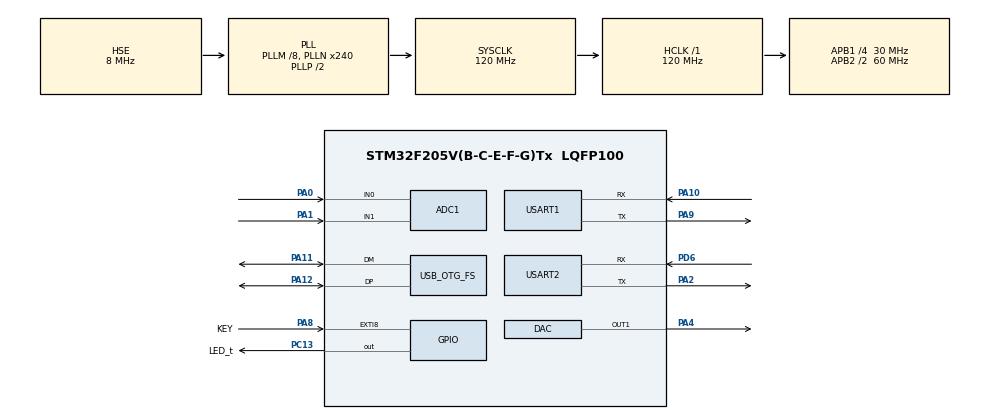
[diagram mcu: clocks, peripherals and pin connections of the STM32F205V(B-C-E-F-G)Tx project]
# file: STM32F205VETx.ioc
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ADC1.Channel-0\#ChannelRegularConversion=ADC_CHANNEL_0
ADC1.Channel-1\#ChannelRegularConversion=ADC_CHANNEL_1
ADC1.Channel-2\#ChannelRegularConversion=ADC_CHANNEL_TEMPSENSOR
ADC1.Channel-3\#ChannelRegularConversion=ADC_CHANNEL_VREFINT
ADC1.ClockPrescaler=ADC_CLOCK_SYNC_PCLK_DIV4
ADC1.ContinuousConvMode=ENABLE
ADC1.DMAContinuousRequests=ENABLE
ADC1.DiscontinuousConvMode=DISABLE
ADC1.InjNumberOfConversion=0
ADC1.NbrOfConversion=4
ADC1.NbrOfConversionFlag=1
ADC1.Rank-0\#ChannelRegularConversion=1
ADC1.Rank-1\#ChannelRegularConversion=2
ADC1.Rank-2\#ChannelRegularConversion=3
ADC1.Rank-3\#ChannelRegularConversion=4
ADC1.SamplingTime-0\#ChannelRegularConversion=ADC_SAMPLETIME_56CYCLES
ADC1.SamplingTime-1\#ChannelRegularConversion=ADC_SAMPLETIME_56CYCLES
ADC1.SamplingTime-2\#ChannelRegularConversion=ADC_SAMPLETIME_56CYCLES
ADC1.SamplingTime-3\#ChannelRegularConversion=ADC_SAMPLETIME_56CYCLES
ADC1.ScanConvMode=ENABLE
ADC1.master=1
DAC.DAC_OutputBuffer=DAC_OUTPUTBUFFER_DISABLE
DAC.DAC_Trigger=DAC_TRIGGER_SOFTWARE
Dma.ADC1.1.Direction=DMA_PERIPH_TO_MEMORY
Dma.ADC1.1.FIFOMode=DMA_FIFOMODE_DISABLE
Dma.ADC1.1.Instance=DMA2_Stream0
Dma.ADC1.1.MemDataAlignment=DMA_MDATAALIGN_WORD
Dma.ADC1.1.MemInc=DMA_MINC_ENABLE
Dma.ADC1.1.Mode=DMA_CIRCULAR
Dma.ADC1.1.PeriphDataAlignment=DMA_PDATAALIGN_WORD
Dma.ADC1.1.PeriphInc=DMA_PINC_DISABLE
Dma.ADC1.1.Priority=DMA_PRIORITY_LOW
Dma.Request0=USART1_RX
Dma.Request1=ADC1
Dma.Request2=USART1_TX
Dma.Request3=USART2_RX
Dma.Request4=USART2_TX
Dma.USART1_RX.0.Direction=DMA_PERIPH_TO_MEMORY
Dma.USART1_RX.0.FIFOMode=DMA_FIFOMODE_DISABLE
Dma.USART1_RX.0.Instance=DMA2_Stream2
Dma.USART1_RX.0.MemDataAlignment=DMA_MDATAALIGN_BYTE
Dma.USART1_RX.0.MemInc=DMA_MINC_ENABLE
Dma.USART1_RX.0.Mode=DMA_NORMAL
Dma.USART1_RX.0.PeriphDataAlignment=DMA_PDATAALIGN_BYTE
Dma.USART1_RX.0.PeriphInc=DMA_PINC_DISABLE
Dma.USART1_RX.0.Priority=DMA_PRIORITY_LOW
Dma.USART1_TX.2.Direction=DMA_MEMORY_TO_PERIPH
Dma.USART1_TX.2.FIFOMode=DMA_FIFOMODE_DISABLE
Dma.USART1_TX.2.Instance=DMA2_Stream7
Dma.USART1_TX.2.MemDataAlignment=DMA_MDATAALIGN_BYTE
Dma.USART1_TX.2.MemInc=DMA_MINC_ENABLE
Dma.USART1_TX.2.Mode=DMA_NORMAL
Dma.USART1_TX.2.PeriphDataAlignment=DMA_PDATAALIGN_BYTE
Dma.USART1_TX.2.PeriphInc=DMA_PINC_DISABLE
Dma.USART1_TX.2.Priority=DMA_PRIORITY_LOW
Dma.USART2_RX.3.Direction=DMA_PERIPH_TO_MEMORY
Dma.USART2_RX.3.FIFOMode=DMA_FIFOMODE_DISABLE
Dma.USART2_RX.3.Instance=DMA1_Stream5
Dma.USART2_RX.3.MemDataAlignment=DMA_MDATAALIGN_BYTE
Dma.USART2_RX.3.MemInc=DMA_MINC_ENABLE
Dma.USART2_RX.3.Mode=DMA_NORMAL
Dma.USART2_RX.3.PeriphDataAlignment=DMA_PDATAALIGN_BYTE
Dma.USART2_RX.3.PeriphInc=DMA_PINC_DISABLE
Dma.USART2_RX.3.Priority=DMA_PRIORITY_LOW
Dma.USART2_TX.4.Direction=DMA_MEMORY_TO_PERIPH
Dma.USART2_TX.4.FIFOMode=DMA_FIFOMODE_DISABLE
Dma.USART2_TX.4.Instance=DMA1_Stream6
Dma.USART2_TX.4.MemDataAlignment=DMA_MDATAALIGN_BYTE
Dma.USART2_TX.4.MemInc=DMA_MINC_ENABLE
Dma.USART2_TX.4.Mode=DMA_NORMAL
Dma.USART2_TX.4.PeriphDataAlignment=DMA_PDATAALIGN_BYTE
Dma.USART2_TX.4.PeriphInc=DMA_PINC_DISABLE
Dma.USART2_TX.4.Priority=DMA_PRIORITY_LOW
FREERTOS.Queues01=CmdQueue,16,uint16_t,0,Dynamic,NULL,NULL
FREERTOS.Tasks01=LEDTask,-2,128,StartLEDTask,Default,NULL,Dynamic,NULL,NULL;UartSendTask,0,128,StartUartSendTask,Default,NULL,Dynamic,NULL,NULL;KeyTask,1,128,Key_Task,Default,NULL,Dynamic,NULL,NULL;UartReceiveTask,2,128,StartUartReceiveTask,Default,NULL,Dynamic,NULL,NULL;GetADC,0,128,StartGetADC,Default,NULL,Dynamic,NULL,NULL
Mcu.Family=STM32F2
Mcu.Name=STM32F205V(B-C-E-F-G)Tx
Mcu.Package=LQFP100
NVIC.ADC_IRQn=true\:5\:0\:false\:false\:true\:true\:true\:true
NVIC.DMA1_Stream5_IRQn=true\:5\:0\:false\:false\:true\:true\:false\:true
NVIC.DMA1_Stream6_IRQn=true\:5\:0\:false\:false\:true\:true\:false\:true
NVIC.DMA2_Stream0_IRQn=true\:5\:0\:false\:false\:true\:true\:false\:true
NVIC.DMA2_Stream2_IRQn=true\:5\:0\:false\:false\:true\:true\:false\:true
NVIC.DMA2_Stream7_IRQn=true\:5\:0\:false\:false\:true\:true\:false\:true
NVIC.EXTI9_5_IRQn=true\:5\:0\:false\:false\:true\:true\:true\:true
NVIC.OTG_FS_IRQn=true\:5\:0\:false\:false\:true\:true\:true\:true
NVIC.PriorityGroup=NVIC_PRIORITYGROUP_4
NVIC.TIM2_IRQn=true\:0\:0\:false\:false\:true\:false\:false\:true
NVIC.TimeBase=TIM2_IRQn
NVIC.TimeBaseIP=TIM2
NVIC.USART1_IRQn=true\:5\:0\:false\:false\:true\:true\:true\:true
NVIC.USART2_IRQn=true\:5\:0\:false\:false\:true\:true\:true\:true
PA0-WKUP.Signal=SharedAnalog_PA0
PA1.Signal=SharedAnalog_PA1
PA10.Mode=Asynchronous
PA10.Signal=USART1_RX
PA11.Mode=Device_Only
PA11.Signal=USB_OTG_FS_DM
PA12.Mode=Device_Only
PA12.Signal=USB_OTG_FS_DP
PA13.Mode=Serial_Wire
PA13.Signal=SYS_JTMS-SWDIO
PA14.Mode=Serial_Wire
PA14.Signal=SYS_JTCK-SWCLK
PA2.Mode=Asynchronous
PA2.Signal=USART2_TX
PA4.Signal=SharedAnalog_PA4
PA8.GPIO_Label=KEY
PA8.GPIO_ModeDefaultEXTI=GPIO_MODE_IT_RISING_FALLING
PA8.GPIO_PuPd=GPIO_PULLUP
PA8.Signal=GPXTI8
PA9.Mode=Asynchronous
PA9.Signal=USART1_TX
PC13.GPIO_Label=LED_t
PC13.GPIO_ModeDefaultOutputPP=GPIO_MODE_OUTPUT_PP
PC13.GPIO_PuPd=GPIO_PULLUP
PC13.Signal=GPIO_Output
PC14-OSC32_IN.Mode=LSE-External-Oscillator
PC14-OSC32_IN.Signal=RCC_OSC32_IN
PC15-OSC32_OUT.Mode=LSE-External-Oscillator
PC15-OSC32_OUT.Signal=RCC_OSC32_OUT
PD6.Mode=Asynchronous
PD6.Signal=USART2_RX
PH0-OSC_IN.Mode=HSE-External-Oscillator
PH0-OSC_IN.Signal=RCC_OSC_IN
PH1-OSC_OUT.Mode=HSE-External-Oscillator
PH1-OSC_OUT.Signal=RCC_OSC_OUT
ProjectManager.HeapSize=0x600
ProjectManager.StackSize=0x800
ProjectManager.TargetToolchain=MDK-ARM V5.27
RCC.48MHZClocksFreq_Value=48000000
RCC.AHBFreq_Value=120000000
RCC.APB1CLKDivider=RCC_HCLK_DIV4
RCC.APB1Freq_Value=30000000
RCC.APB1TimFreq_Value=60000000
RCC.APB2CLKDivider=RCC_HCLK_DIV2
RCC.APB2Freq_Value=60000000
RCC.APB2TimFreq_Value=120000000
RCC.CortexFreq_Value=120000000
RCC.HCLKFreq_Value=120000000
RCC.HSE_VALUE=8000000
RCC.HSI_VALUE=16000000
RCC.PLLM=8
RCC.PLLN=240
RCC.PLLQ=5
RCC.PLLSourceVirtual=RCC_PLLSOURCE_HSE
RCC.SYSCLKFreq_VALUE=120000000
RCC.SYSCLKSource=RCC_SYSCLKSOURCE_PLLCLK
RCC.VCOOutputFreq_Value=240000000
SH.SharedAnalog_PA0.0=GPIO_Analog
SH.SharedAnalog_PA0.1=ADC1_IN0,IN0
SH.SharedAnalog_PA1.0=GPIO_Analog
SH.SharedAnalog_PA1.1=ADC1_IN1,IN1
SH.SharedAnalog_PA4.0=GPIO_Analog
SH.SharedAnalog_PA4.1=DAC_OUT1,DAC_OUT1
USART1.VirtualMode=VM_ASYNC
USART2.VirtualMode=VM_ASYNC
USB_DEVICE.CLASS_NAME_FS=CDC
USB_DEVICE.VirtualMode-CDC_FS=Cdc
USB_DEVICE.VirtualModeFS=Cdc_FS
USB_OTG_FS.VirtualMode=Device_Only
VP_ADC1_TempSens_Input.Mode=IN-TempSens
VP_ADC1_Vref_Input.Mode=IN-Vrefint
VP_CRC_VS_CRC.Mode=CRC_Activate
VP_FREERTOS_VS_CMSIS_V1.Mode=CMSIS_V1
VP_SYS_VS_tim2.Mode=TIM2
VP_USB_DEVICE_VS_USB_DEVICE_CDC_FS.Mode=CDC_FS
board=custom

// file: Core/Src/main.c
/* USER CODE BEGIN Header */
/**
  ******************************************************************************
  * @file           : main.c
  * @brief          : Main program body
  ******************************************************************************
  * @attention
  *
  * <h2><center>&copy; Copyright (c) 2022 STMicroelectronics.
  * All rights reserved.</center></h2>
  *
  * This software component is licensed by ST under Ultimate Liberty license
  * SLA0044, the "License"; You may not use this file except in compliance with
  * the License. You may obtain a copy of the License at:
  *                             www.st.com/SLA0044
  *
  ******************************************************************************
  */
/* USER CODE END Header */
#include "main.h"
#include "cmsis_os.h"
#include "adc.h"
#include "crc.h"
#include "dac.h"
#include "dma.h"
#include "usart.h"
#include "usb_device.h"
#include "gpio.h"

void SystemClock_Config(void);
void MX_FREERTOS_Init(void);

/* USER CODE BEGIN 0 */

SemaphoreHandle_t  xSemaphore = NULL;
static void AppObjCreate (void)
{
    xSemaphore = xSemaphoreCreateBinary();
}

/* USER CODE END 0 */

int main(void)
{

  /* MCU Configuration--------------------------------------------------------*/

  /* Reset of all peripherals, Initializes the Flash interface and the Systick. */
  HAL_Init();

  /* Configure the system clock */
  SystemClock_Config();

  /* USER CODE BEGIN SysInit */
	MX_USB_DEVICE_Init();

  /* USER CODE END SysInit */

  /* Initialize all configured peripherals */
  MX_GPIO_Init();
  MX_DMA_Init();
  MX_USART1_UART_Init();
  MX_ADC1_Init();
  MX_USART2_UART_Init();
  MX_CRC_Init();
  MX_DAC_Init();
  /* USER CODE BEGIN 2 */

	HAL_DAC_SetValue(&hdac,DAC_CHANNEL_1,DAC_ALIGN_12B_R,2048);

	HAL_DAC_Start(&hdac,DAC_CHANNEL_1);

	printf("DAC Value :%d\n",HAL_DAC_GetValue (&hdac,DAC_CHANNEL_1));
	printf("DAC State :%d\n",HAL_DAC_GetState (&hdac));

    HAL_ADC_Start_DMA(&hadc1,ADC1_Buf,ADC1_CHANNEL_CNT);

 //   HAL_UART_Receive_IT(&huart1,recv_buf,1);
		HAL_UART_Receive_DMA(&huart1, UART_RX_BUF, UART_RX_LEN);  // 启动DMA接收
		__HAL_UART_ENABLE_IT(&huart1, UART_IT_IDLE);              // 使能空闲中断

		HAL_UART_Receive_DMA(&huart2, UART_RX_BUF, UART_RX_LEN);  // 启动DMA接收
		__HAL_UART_ENABLE_IT(&huart2, UART_IT_IDLE);              // 使能空闲中断

    AppObjCreate();
    EMLOG(LOG_DEBUG,"初始化完成");
		EMLOG(LOG_DEBUG,"%s",UART_RX_BUF);

  /* USER CODE END 2 */

  /* Call init function for freertos objects (in freertos.c) */
  MX_FREERTOS_Init();
  /* Start scheduler */
  osKernelStart();

  /* We should never get here as control is now taken by the scheduler */
  /* Infinite loop */
    while (1)
    {

    }
}

void SystemClock_Config(void)
{
  RCC_OscInitTypeDef RCC_OscInitStruct = {0};
  RCC_ClkInitTypeDef RCC_ClkInitStruct = {0};

  /** Initializes the RCC Oscillators according to the specified parameters
  * in the RCC_OscInitTypeDef structure.
  */
  RCC_OscInitStruct.OscillatorType = RCC_OSCILLATORTYPE_HSE;
  RCC_OscInitStruct.HSEState = RCC_HSE_ON;
  RCC_OscInitStruct.PLL.PLLState = RCC_PLL_ON;
  RCC_OscInitStruct.PLL.PLLSource = RCC_PLLSOURCE_HSE;
  RCC_OscInitStruct.PLL.PLLM = 8;
  RCC_OscInitStruct.PLL.PLLN = 240;
  RCC_OscInitStruct.PLL.PLLP = RCC_PLLP_DIV2;
  RCC_OscInitStruct.PLL.PLLQ = 5;
  if (HAL_RCC_OscConfig(&RCC_OscInitStruct) != HAL_OK)
  {
    Error_Handler();
  }
  /** Initializes the CPU, AHB and APB buses clocks
  */
  RCC_ClkInitStruct.ClockType = RCC_CLOCKTYPE_HCLK|RCC_CLOCKTYPE_SYSCLK
                              |RCC_CLOCKTYPE_PCLK1|RCC_CLOCKTYPE_PCLK2;
  RCC_ClkInitStruct.SYSCLKSource = RCC_SYSCLKSOURCE_PLLCLK;
  RCC_ClkInitStruct.AHBCLKDivider = RCC_SYSCLK_DIV1;
  RCC_ClkInitStruct.APB1CLKDivider = RCC_HCLK_DIV4;
  RCC_ClkInitStruct.APB2CLKDivider = RCC_HCLK_DIV2;

  if (HAL_RCC_ClockConfig(&RCC_ClkInitStruct, FLASH_LATENCY_3) != HAL_OK)
  {
    Error_Handler();
  }
}

 /**
  * @brief  Period elapsed callback in non blocking mode
  * @note   This function is called  when TIM2 interrupt took place, inside
  * HAL_TIM_IRQHandler(). It makes a direct call to HAL_IncTick() to increment
  * a global variable "uwTick" used as application time base.
  * @param  htim : TIM handle
  * @retval None
  */
void HAL_TIM_PeriodElapsedCallback(TIM_HandleTypeDef *htim)
{
  if (htim->Instance == TIM2) {
    HAL_IncTick();
  }
}

void Error_Handler(void)
{
    __disable_irq();
    while (1)
    {
    }
}

/************************ (C) COPYRIGHT STMicroelectronics *****END OF FILE****/

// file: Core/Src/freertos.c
/* USER CODE BEGIN Header */
/**
  ******************************************************************************
  * File Name          : freertos.c
  * Description        : Code for freertos applications
  ******************************************************************************
  * @attention
  *
  * <h2><center>&copy; Copyright (c) 2022 STMicroelectronics.
  * All rights reserved.</center></h2>
  *
  * This software component is licensed by ST under Ultimate Liberty license
  * SLA0044, the "License"; You may not use this file except in compliance with
  * the License. You may obtain a copy of the License at:
  *                             www.st.com/SLA0044
  *
  ******************************************************************************
  */
/* USER CODE END Header */

#include "FreeRTOS.h"
#include "task.h"
#include "main.h"
#include "cmsis_os.h"

/* USER CODE BEGIN Includes */
#include "gpio.h"
#include "usart.h"
#include "ADC.h"
#include "string.h"
#include "usbd_cdc_if.h"

/* USER CODE END Includes */

osThreadId LEDTaskHandle;
osThreadId UartSendTaskHandle;
osThreadId KeyTaskHandle;
osThreadId UartReceiveTaskHandle;
osThreadId GetADCHandle;
osMessageQId CmdQueueHandle;

void StartLEDTask(void const * argument);
void StartUartSendTask(void const * argument);
void Key_Task(void const * argument);
void StartUartReceiveTask(void const * argument);
void StartGetADC(void const * argument);

extern void MX_USB_DEVICE_Init(void);
void MX_FREERTOS_Init(void); /* (MISRA C 2004 rule 8.1) */

/* GetIdleTaskMemory prototype (linked to static allocation support) */
void vApplicationGetIdleTaskMemory( StaticTask_t **ppxIdleTaskTCBBuffer, StackType_t **ppxIdleTaskStackBuffer, uint32_t *pulIdleTaskStackSize );

/* USER CODE BEGIN GET_IDLE_TASK_MEMORY */
static StaticTask_t xIdleTaskTCBBuffer;
static StackType_t xIdleStack[configMINIMAL_STACK_SIZE];

void vApplicationGetIdleTaskMemory( StaticTask_t **ppxIdleTaskTCBBuffer, StackType_t **ppxIdleTaskStackBuffer, uint32_t *pulIdleTaskStackSize )
{
    *ppxIdleTaskTCBBuffer = &xIdleTaskTCBBuffer;
    *ppxIdleTaskStackBuffer = &xIdleStack[0];
    *pulIdleTaskStackSize = configMINIMAL_STACK_SIZE;
    /* place for user code */
}
/* USER CODE END GET_IDLE_TASK_MEMORY */

void MX_FREERTOS_Init(void) {

  /* Create the queue(s) */
  /* definition and creation of CmdQueue */
  osMessageQDef(CmdQueue, 16, uint16_t);
  CmdQueueHandle = osMessageCreate(osMessageQ(CmdQueue), NULL);

  /* Create the thread(s) */
  /* definition and creation of LEDTask */
  osThreadDef(LEDTask, StartLEDTask, osPriorityLow, 0, 128);
  LEDTaskHandle = osThreadCreate(osThread(LEDTask), NULL);

  /* definition and creation of UartSendTask */
  osThreadDef(UartSendTask, StartUartSendTask, osPriorityNormal, 0, 128);
  UartSendTaskHandle = osThreadCreate(osThread(UartSendTask), NULL);

  /* definition and creation of KeyTask */
  osThreadDef(KeyTask, Key_Task, osPriorityAboveNormal, 0, 128);
  KeyTaskHandle = osThreadCreate(osThread(KeyTask), NULL);

  /* definition and creation of UartReceiveTask */
  osThreadDef(UartReceiveTask, StartUartReceiveTask, osPriorityHigh, 0, 128);
  UartReceiveTaskHandle = osThreadCreate(osThread(UartReceiveTask), NULL);

  /* definition and creation of GetADC */
  osThreadDef(GetADC, StartGetADC, osPriorityNormal, 0, 128);
  GetADCHandle = osThreadCreate(osThread(GetADC), NULL);

}

void StartLEDTask(void const * argument)
{
  /* init code for USB_DEVICE */
  MX_USB_DEVICE_Init();
  /* USER CODE BEGIN StartLEDTask */
    /* Infinite loop */
    for(;;)
    {
        HAL_GPIO_TogglePin(LED_t_GPIO_Port,LED_t_Pin);

        osDelay(1000);
    }
  /* USER CODE END StartLEDTask */
}

void StartUartSendTask(void const * argument)
{
  /* USER CODE BEGIN StartUartSendTask */
	uint8_t AT_get_time[50] = "AT+UPDATETIME=1,time.windows.com,10,\"E8\",0\r\n";

    /* Infinite loop */
    for(;;)
    {
//    osDelay(1000);//等待1秒
//    osMessagePut(CmdQueueHandle, 1, 0);//发送消息1

			HAL_UART_Transmit_DMA(&huart2, (uint8_t*)AT_get_time,  sizeof(AT_get_time));  //发送命令

      osDelay(1000);//等待1秒
//    osMessagePut(CmdQueueHandle, 2, 0);//发送消息2
    }
  /* USER CODE END StartUartSendTask */
}

void Key_Task(void const * argument)
{
  /* USER CODE BEGIN Key_Task */
    /* Infinite loop */
    for(;;)
    {
        if(KeyState == KEY_DOWN) {
            vTaskSuspend(LEDTaskHandle);
					vTaskSuspend(GetADCHandle);

            KeyState = KEY_UNKNOW;
        } else if(KeyState == KEY_UP) {
            vTaskResume(LEDTaskHandle);

					 vTaskResume(GetADCHandle);
            KeyState = KEY_UNKNOW;
           // printf("Key_Task\n");
        }
        osDelay(1000);
    }
  /* USER CODE END Key_Task */
}

void StartUartReceiveTask(void const * argument)
{
  /* USER CODE BEGIN StartUartReceiveTask */
    //osEvent theEvent;//声明一个事件

    //uint32_t test = 1;
    /* Infinite loop */
    for(;;)
    {
        //	printf("tw %d\n",test);

        //test = scanf("%d",&test);
      //  EMLOG(LOG_DEBUG,"串口接收任务运行中\n");

		if(UART_RX_STA & 0X8000)
		{
		//	HAL_UART_Transmit(&huart1, UART_RX_BUF, UART_RX_STA & 0X7FFF, 100);    // 将接收到的数据发送回去

			switch(UART_RX_BUF[0]){
				case 0x01 : printf("地址1\n");

				printf("%d\n",(UART_RX_BUF[3]<<8)+UART_RX_BUF[4]);
				break;

			}

//		//	EMLOG(LOG_DEBUG,"%d\n",strcmp("AT\n",(char *)UART_RX_BUF ));
//			if(0 == strcmp("AT\r\n",(char *)UART_RX_BUF ))
//			{
//				printf("OK\n");
//				EMLOG(LOG_DEBUG,"收到%s\n",UART_RX_BUF);
//
//			}
//			else if(0 == strcmp("AT+OPEN\r\n",(char *)UART_RX_BUF ))
//			{
//				printf("OPEN ADC\n");
//
//			}
//
//
//			HAL_UART_Transmit_DMA(&huart1, (uint8_t*)UART_RX_BUF,  UART_RX_STA & 0X7FFF);  //回显

			UART_RX_STA = 0;
		}

        //	printf("Receive message %d\n",test);
        osDelay(100);

//		theEvent = osMessageGet(CmdQueueHandle, osWaitForever);
//      if(theEvent.status == osEventMessage)
//      {
//          printf("Receive message %d\n",theEvent.value.v);
//      }
    }
  /* USER CODE END StartUartReceiveTask */
}

void StartGetADC(void const * argument)
{
  /* USER CODE BEGIN StartGetADC */
				  static double V_In0 = 0,S = 0;
			  static uint32_t i = 0;
	uint8_t USB_Buf[100] = "usb_test   \r\n";
    /* Infinite loop */
    for(;;)
    {

//        for(int i=0; i<ADC1_CHANNEL_CNT; i++) {
//            //printf("CH%d value = %d \n",i,AD_Buf[i]&0xFFF);
//            //printf("CH%d 电压 = %.3lf  mV\n",i,((AD_Buf[i]&0xFFF)*1000*3.3/4096));

//        }

        	//printf("IN0 电压 = %.3f  mV\n",Get_ADC_Voltage(ADC1_Buf,ADC1_CHANNEL_IN0));

			  V_In0 = Get_ADC_Voltage(ADC1_Buf,ADC1_CHANNEL_IN0);
			  S += V_In0;

			  i ++;

			if(i==100)
			{  V_In0 = S/i;
				  printf("IN0 电压 = %.3f  mV\n",V_In0);
				i = 0;
				S = 0;

			}
			USB_Buf[10] = i;
			while(CDC_Transmit_FS(USB_Buf, sizeof(USB_Buf)) != USBD_OK){

				osDelay(1000);
				EMLOG(LOG_DEBUG,"发送中\n返回值%d\n",CDC_Transmit_FS(USB_Buf, sizeof(USB_Buf)));

				}

        //printf("DMA采集数据的次数是 %d",ADC1_DMA_CNT);
        ADC1_DMA_CNT=0;

        osDelay(10);
    }
  /* USER CODE END StartGetADC */
}

/************************ (C) COPYRIGHT STMicroelectronics *****END OF FILE****/
